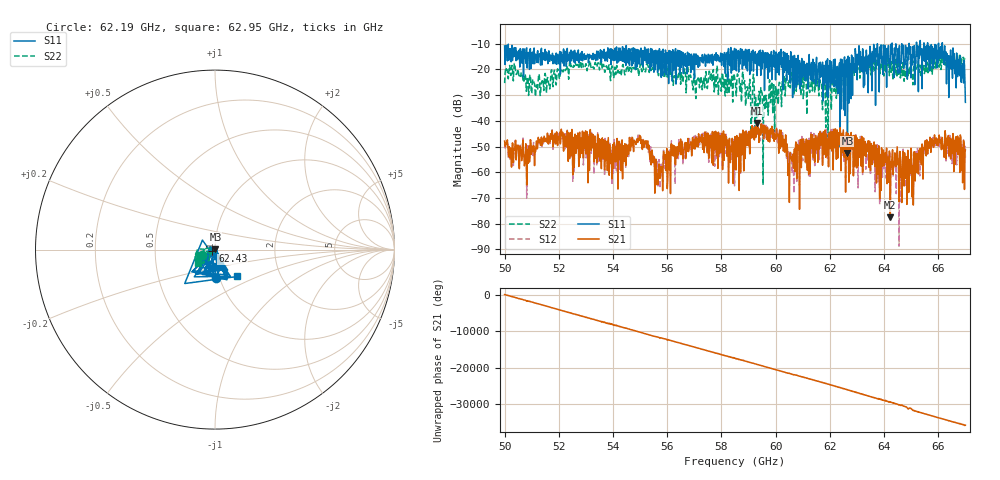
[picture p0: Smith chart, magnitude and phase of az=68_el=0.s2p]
!Created with skrf (http://scikit-rf.org).
# GHz S RI R 50.0
!freq ReS11 ImS11 ReS21 ImS21 ReS12 ImS12 ReS22 ImS22
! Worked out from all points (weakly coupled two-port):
!   1001 points, 50 GHz to 67 GHz, reference 50 ohm
!   highest |S21| = -40.85 dB at 59.3 GHz (marker M1); lowest = -77.5 dB at 64.23 GHz (marker M2)
!   lowest |S11| = -52.4 dB at 62.65 GHz (marker M3), VSWR 1.00, Z = 50.2 + j0.0611 ohm
!   |S11| at or under -10 dB: start of sweep to 64.3 GHz; 64.3 GHz to 64.93 GHz (628.1 MHz wide, 0.972 % of centre); 66.15 GHz to end of sweep (the widest 3 of 9)
!   |S22| runs from -64.9 to -13.9 dB; largest |S21 - S12| = 0.0023
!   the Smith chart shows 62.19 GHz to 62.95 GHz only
!   S11 on the Smith chart (normalised r, x): 62.19 GHz: 0.96, -0.31; 62.43 GHz: 0.97, -0.02; 62.95 GHz: 1.22, -0.38
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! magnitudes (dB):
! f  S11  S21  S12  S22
! 50 GHz  -10.8  -47.9  -48.8  -25.3
! 50.78 GHz  -17.6  -48.9  -49.7  -23.8
! 51.67 GHz  -16.8  -48.2  -48.9  -27.6
! 52.84 GHz  -15.1  -52.6  -52.5  -19.3
! 53.93 GHz  -18.1  -52.7  -51.6  -20.9
! 54.96 GHz  -18.0  -47.6  -48.2  -21.4
! 55.68 GHz  -14.3  -58.7  -57.4  -22.4
! 57.12 GHz  -14.6  -48.1  -48.1  -24.5
! 58.5 GHz  -20.0  -46.1  -47.9  -24.5
! 59.3 GHz  -14.2  -40.8  -41.1  -39.0
! 60.12 GHz  -13.5  -52.6  -52.0  -26.5
! 60.54 GHz  -25.3  -52.4  -51.9  -27.2
! 61.34 GHz  -24.3  -50.8  -53.0  -25.8
! 62.19 GHz  -16.0  -46.7  -48.6  -22.1
! 62.43 GHz  -35.3  -45.8  -46.1  -29.4
! 62.65 GHz  -52.4  -52.9  -50.2  -23.3
! 62.95 GHz  -14.2  -45.7  -45.4  -18.4
! 64.18 GHz  -17.7  -57.7  -58.3  -18.7
! 64.23 GHz  -19.6  -77.5  -74.5  -17.9
! 65.11 GHz  -10.8  -52.0  -53.2  -16.7
! 66.08 GHz  -15.7  -47.3  -47.1  -15.6
! 67 GHz  -32.8  -51.3  -54.2  -15.8
